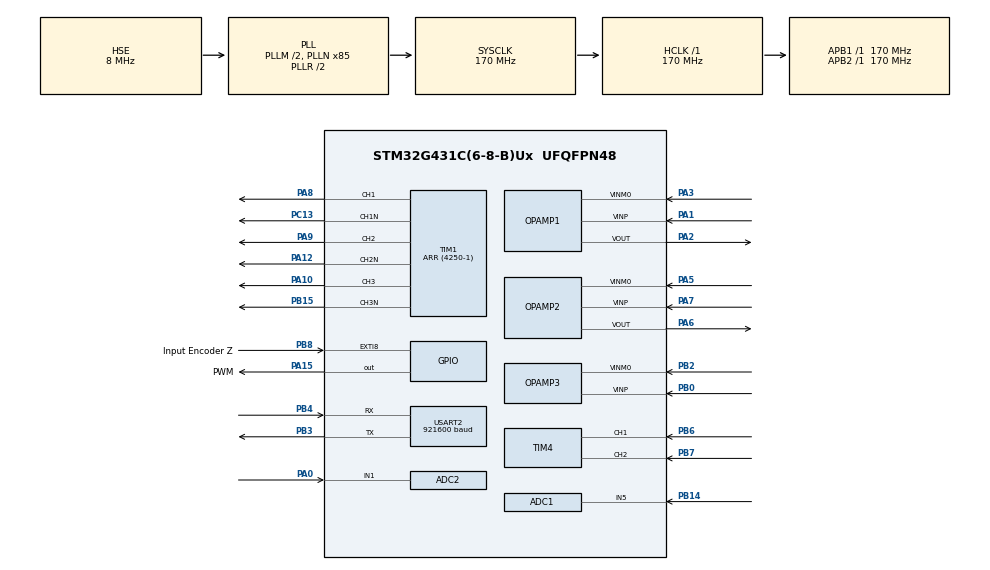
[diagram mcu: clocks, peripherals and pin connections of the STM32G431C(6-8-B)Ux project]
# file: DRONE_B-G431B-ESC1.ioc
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ADC1.Channel-11\#ChannelRegularConversion=ADC_CHANNEL_5
ADC1.ContinuousConvMode=DISABLE
ADC1.EnableInjectedConversion=ENABLE
ADC1.EnableRegularConversion=ENABLE
ADC1.ExternalTrigInjecConv=ADC_EXTERNALTRIGINJEC_T1_CC4
ADC1.InjNumberOfConversion=1
ADC1.InjectedChannel-10\#ChannelInjectedConversion=ADC_CHANNEL_3
ADC1.InjectedOffsetNumber-10\#ChannelInjectedConversion=ADC_OFFSET_NONE
ADC1.InjectedRank-10\#ChannelInjectedConversion=1
ADC1.InjectedSamplingTime-10\#ChannelInjectedConversion=ADC_SAMPLETIME_12CYCLES_5
ADC1.NbrOfConversionFlag=1
ADC1.OffsetNumber-11\#ChannelRegularConversion=ADC_OFFSET_NONE
ADC1.Overrun=ADC_OVR_DATA_OVERWRITTEN
ADC1.Rank-11\#ChannelRegularConversion=1
ADC1.SamplingTime-11\#ChannelRegularConversion=ADC_SAMPLETIME_47CYCLES_5
ADC1.master=1
ADC2.Channel-7\#ChannelRegularConversion=ADC_CHANNEL_1
ADC2.EnableInjectedConversion=ENABLE
ADC2.EnableRegularConversion=ENABLE
ADC2.ExternalTrigInjecConv=ADC_EXTERNALTRIGINJEC_T1_CC4
ADC2.InjNumberOfConversion=1
ADC2.InjectedChannel-8\#ChannelInjectedConversion=ADC_CHANNEL_3
ADC2.InjectedOffsetNumber-8\#ChannelInjectedConversion=ADC_OFFSET_NONE
ADC2.InjectedRank-8\#ChannelInjectedConversion=1
ADC2.InjectedSamplingTime-8\#ChannelInjectedConversion=ADC_SAMPLETIME_12CYCLES_5
ADC2.NbrOfConversion=1
ADC2.NbrOfConversionFlag=1
ADC2.OffsetNumber-7\#ChannelRegularConversion=ADC_OFFSET_NONE
ADC2.Rank-7\#ChannelRegularConversion=1
ADC2.Rank1_Channel=ADC_CHANNEL_3
ADC2.SamplingTime-7\#ChannelRegularConversion=ADC_SAMPLETIME_47CYCLES_5
COMP1.TriggerMode=COMP_TRIGGERMODE_IT_RISING
COMP2.TriggerMode=COMP_TRIGGERMODE_IT_RISING
COMP4.TriggerMode=COMP_TRIGGERMODE_IT_RISING
DAC1.DAC_Channel-DAC_OUT2_Int=DAC_CHANNEL_2
Dma.ADC1.3.Direction=DMA_PERIPH_TO_MEMORY
Dma.ADC1.3.EventEnable=DISABLE
Dma.ADC1.3.Instance=DMA1_Channel3
Dma.ADC1.3.MemDataAlignment=DMA_MDATAALIGN_HALFWORD
Dma.ADC1.3.MemInc=DMA_MINC_ENABLE
Dma.ADC1.3.Mode=DMA_NORMAL
Dma.ADC1.3.PeriphDataAlignment=DMA_PDATAALIGN_HALFWORD
Dma.ADC1.3.PeriphInc=DMA_PINC_DISABLE
Dma.ADC1.3.Polarity=HAL_DMAMUX_REQ_GEN_RISING
Dma.ADC1.3.Priority=DMA_PRIORITY_LOW
Dma.ADC1.3.RequestNumber=1
Dma.ADC1.3.SignalID=NONE
Dma.ADC1.3.SyncEnable=DISABLE
Dma.ADC1.3.SyncPolarity=HAL_DMAMUX_SYNC_NO_EVENT
Dma.ADC1.3.SyncRequestNumber=1
Dma.ADC1.3.SyncSignalID=NONE
Dma.ADC2.1.Direction=DMA_PERIPH_TO_MEMORY
Dma.ADC2.1.EventEnable=DISABLE
Dma.ADC2.1.Instance=DMA1_Channel2
Dma.ADC2.1.MemDataAlignment=DMA_MDATAALIGN_HALFWORD
Dma.ADC2.1.MemInc=DMA_MINC_ENABLE
Dma.ADC2.1.Mode=DMA_NORMAL
Dma.ADC2.1.PeriphDataAlignment=DMA_PDATAALIGN_HALFWORD
Dma.ADC2.1.PeriphInc=DMA_PINC_DISABLE
Dma.ADC2.1.Polarity=HAL_DMAMUX_REQ_GEN_RISING
Dma.ADC2.1.Priority=DMA_PRIORITY_MEDIUM
Dma.ADC2.1.RequestNumber=1
Dma.ADC2.1.SignalID=NONE
Dma.ADC2.1.SyncEnable=DISABLE
Dma.ADC2.1.SyncPolarity=HAL_DMAMUX_SYNC_NO_EVENT
Dma.ADC2.1.SyncRequestNumber=1
Dma.ADC2.1.SyncSignalID=NONE
Dma.Request0=USART2_RX
Dma.Request1=ADC2
Dma.Request2=USART2_TX
Dma.Request3=ADC1
Dma.USART2_RX.0.Direction=DMA_PERIPH_TO_MEMORY
Dma.USART2_RX.0.EventEnable=DISABLE
Dma.USART2_RX.0.Instance=DMA1_Channel1
Dma.USART2_RX.0.MemDataAlignment=DMA_MDATAALIGN_BYTE
Dma.USART2_RX.0.MemInc=DMA_MINC_ENABLE
Dma.USART2_RX.0.Mode=DMA_CIRCULAR
Dma.USART2_RX.0.PeriphDataAlignment=DMA_PDATAALIGN_BYTE
Dma.USART2_RX.0.PeriphInc=DMA_PINC_DISABLE
Dma.USART2_RX.0.Polarity=HAL_DMAMUX_REQ_GEN_RISING
Dma.USART2_RX.0.Priority=DMA_PRIORITY_LOW
Dma.USART2_RX.0.RequestNumber=1
Dma.USART2_RX.0.SignalID=NONE
Dma.USART2_RX.0.SyncEnable=DISABLE
Dma.USART2_RX.0.SyncPolarity=HAL_DMAMUX_SYNC_NO_EVENT
Dma.USART2_RX.0.SyncRequestNumber=1
Dma.USART2_RX.0.SyncSignalID=NONE
Dma.USART2_TX.2.Direction=DMA_MEMORY_TO_PERIPH
Dma.USART2_TX.2.EventEnable=DISABLE
Dma.USART2_TX.2.Instance=DMA2_Channel1
Dma.USART2_TX.2.MemDataAlignment=DMA_MDATAALIGN_BYTE
Dma.USART2_TX.2.MemInc=DMA_MINC_ENABLE
Dma.USART2_TX.2.Mode=DMA_NORMAL
Dma.USART2_TX.2.PeriphDataAlignment=DMA_PDATAALIGN_BYTE
Dma.USART2_TX.2.PeriphInc=DMA_PINC_DISABLE
Dma.USART2_TX.2.Polarity=HAL_DMAMUX_REQ_GEN_RISING
Dma.USART2_TX.2.Priority=DMA_PRIORITY_LOW
Dma.USART2_TX.2.RequestNumber=1
Dma.USART2_TX.2.SignalID=NONE
Dma.USART2_TX.2.SyncEnable=DISABLE
Dma.USART2_TX.2.SyncPolarity=HAL_DMAMUX_SYNC_NO_EVENT
Dma.USART2_TX.2.SyncRequestNumber=1
Dma.USART2_TX.2.SyncSignalID=NONE
Mcu.Family=STM32G4
Mcu.Name=STM32G431C(6-8-B)Ux
Mcu.Package=UFQFPN48
NVIC.ADC1_2_IRQn=true\:0\:0\:false\:false\:true\:true\:true\:true
NVIC.COMP1_2_3_IRQn=true\:0\:0\:false\:false\:true\:false\:true\:true
NVIC.COMP4_IRQn=true\:0\:0\:false\:false\:true\:false\:true\:true
NVIC.DMA1_Channel1_IRQn=true\:0\:0\:true\:false\:true\:false\:true\:true
NVIC.DMA1_Channel2_IRQn=true\:0\:0\:true\:false\:true\:false\:true\:true
NVIC.DMA1_Channel3_IRQn=true\:0\:0\:false\:false\:true\:false\:true\:true
NVIC.DMA2_Channel1_IRQn=true\:0\:0\:false\:false\:true\:false\:true\:true
NVIC.EXTI9_5_IRQn=true\:0\:0\:false\:false\:true\:true\:true\:true
NVIC.PriorityGroup=NVIC_PRIORITYGROUP_4
NVIC.TIM4_IRQn=true\:0\:0\:false\:false\:true\:true\:true\:true
NVIC.TIM6_DAC_IRQn=true\:0\:0\:false\:false\:true\:true\:true\:true
NVIC.USART2_IRQn=true\:1\:0\:true\:false\:true\:true\:true\:true
OPAMP1.PgaGain=OPAMP_PGA_GAIN_16_OR_MINUS_15
OPAMP2.PgaGain=OPAMP_PGA_GAIN_16_OR_MINUS_15
OPAMP3.PgaGain=OPAMP_PGA_GAIN_8_OR_MINUS_7
PA0.Mode=IN1-Single-Ended
PA0.Signal=ADC2_IN1
PA1.Signal=SharedAnalog_PA1
PA10.Signal=S_TIM1_CH3
PA12.Mode=PWM Generation2 CH2 CH2N
PA12.Signal=TIM1_CH2N
PA13.Mode=Serial_Wire
PA13.Signal=SYS_JTMS-SWDIO
PA14.Mode=Serial_Wire
PA14.Signal=SYS_JTCK-SWCLK
PA15.GPIO_Label=PWM
PA15.Signal=GPIO_Output
PA2.Signal=SharedAnalog_PA2
PA3.Mode=PGA Connected-INVERTINGINPUT_IO0_BIAS
PA3.Signal=OPAMP1_VINM0
PA5.Mode=PGA Connected-INVERTINGINPUT_IO0_BIAS
PA5.Signal=OPAMP2_VINM0
PA6.Signal=SharedAnalog_PA6
PA7.Signal=SharedAnalog_PA7
PA8.Signal=S_TIM1_CH1
PA9.Signal=S_TIM1_CH2
PB0.Signal=SharedAnalog_PB0
PB1.Signal=SharedAnalog_PB1
PB14.Mode=IN5-Single-Ended
PB14.Signal=ADC1_IN5
PB15.Mode=PWM Generation3 CH3 CH3N
PB15.Signal=TIM1_CH3N
PB2.Mode=PGA Internally connected_IO0_BIAS
PB2.Signal=OPAMP3_VINM0
PB3.Mode=Asynchronous
PB3.Signal=USART2_TX
PB4.Mode=Asynchronous
PB4.Signal=USART2_RX
PB6.Signal=S_TIM4_CH1
PB7.Signal=S_TIM4_CH2
PB8-BOOT0.GPIO_Label=Input Encoder Z
PB8-BOOT0.Signal=GPXTI8
PC13.Mode=PWM Generation1 CH1 CH1N
PC13.Signal=TIM1_CH1N
PF0-OSC_IN.Mode=HSE-External-Oscillator
PF0-OSC_IN.Signal=RCC_OSC_IN
PF1-OSC_OUT.Mode=HSE-External-Oscillator
PF1-OSC_OUT.Signal=RCC_OSC_OUT
ProjectManager.HeapSize=0x200
ProjectManager.StackSize=0x400
ProjectManager.TargetToolchain=CMake
RCC.ADC12CLockSelection=RCC_ADC12CLKSOURCE_PLL
RCC.ADC12Freq_Value=170000000
RCC.AHBFreq_Value=170000000
RCC.APB1Freq_Value=170000000
RCC.APB1TimFreq_Value=170000000
RCC.APB2Freq_Value=170000000
RCC.APB2TimFreq_Value=170000000
RCC.CortexFreq_Value=170000000
RCC.EXTERNAL_CLOCK_VALUE=12288000
RCC.HCLKFreq_Value=170000000
RCC.HSE_VALUE=8000000
RCC.HSI48_VALUE=48000000
RCC.HSI_VALUE=16000000
RCC.LSE_VALUE=32768
RCC.PLLM=RCC_PLLM_DIV2
RCC.PLLN=85
RCC.PLLSourceVirtual=RCC_PLLSOURCE_HSE
RCC.SYSCLKFreq_VALUE=170000000
RCC.SYSCLKSource=RCC_SYSCLKSOURCE_PLLCLK
RCC.USBFreq_Value=170000000
RCC.VCOOutputFreq_Value=340000000
SH.S_TIM1_CH1.0=TIM1_CH1,PWM Generation1 CH1 CH1N
SH.S_TIM1_CH2.0=TIM1_CH2,PWM Generation2 CH2 CH2N
SH.S_TIM1_CH3.0=TIM1_CH3,PWM Generation3 CH3 CH3N
SH.S_TIM4_CH1.0=TIM4_CH1,Encoder_Interface
SH.S_TIM4_CH2.0=TIM4_CH2,Encoder_Interface
SH.SharedAnalog_PA1.0=OPAMP1_VINP,PGA Connected-INVERTINGINPUT_IO0_BIAS
SH.SharedAnalog_PA1.1=COMP1_INP,INP
SH.SharedAnalog_PA2.0=OPAMP1_VOUT,PGA Connected-INVERTINGINPUT_IO0_BIAS
SH.SharedAnalog_PA2.1=ADC1_IN3,IN3-Single-Ended
SH.SharedAnalog_PA6.0=OPAMP2_VOUT,PGA Connected-INVERTINGINPUT_IO0_BIAS
SH.SharedAnalog_PA6.1=ADC2_IN3,IN3-Single-Ended
SH.SharedAnalog_PA7.0=OPAMP2_VINP,PGA Connected-INVERTINGINPUT_IO0_BIAS
SH.SharedAnalog_PA7.1=COMP2_INP,INP
SH.SharedAnalog_PB0.0=OPAMP3_VINP,PGA Internally connected_IO0_BIAS
SH.SharedAnalog_PB0.1=COMP4_INP,INP
SH.SharedAnalog_PB1.0=ADC1_IN12
SH.SharedAnalog_PB1.1=OPAMP3_VOUT
TIM1.AutoReloadPreload=TIM_AUTORELOAD_PRELOAD_ENABLE
TIM1.BreakFilter=0
TIM1.Channel-PWM\ Generation1\ CH1\ CH1N=TIM_CHANNEL_1
TIM1.Channel-PWM\ Generation2\ CH2\ CH2N=TIM_CHANNEL_2
TIM1.Channel-PWM\ Generation3\ CH3\ CH3N=TIM_CHANNEL_3
TIM1.Channel-PWM\ Generation4\ No\ Output=TIM_CHANNEL_4
TIM1.CounterMode=TIM_COUNTERMODE_CENTERALIGNED1
TIM1.DeadTime=30
TIM1.PeriodNoDither=(4250-1)
TIM1.PulseNoDither_1=8500/4
TIM1.PulseNoDither_2=8500/4
TIM1.PulseNoDither_3=8500/4
TIM1.PulseNoDither_4=4240
TIM1.TIM_MasterOutputTrigger=TIM_TRGO_OC1
TIM1.TIM_MasterOutputTrigger2=TIM_TRGO2_RESET
TIM2.Channel-PWM\ Generation1\ No\ Output=TIM_CHANNEL_1
TIM4.EncoderMode=TIM_ENCODERMODE_TI12
TIM4.PeriodNoDither=((16*4096)-1)
TIM4.TIM_MasterOutputTrigger=TIM_TRGO_ENABLE
USART2.BaudRate=921600
USART2.Parity=PARITY_EVEN
USART2.VirtualMode-Asynchronous=VM_ASYNC
USART2.WordLength=WORDLENGTH_9B
VP_COMP1_VS_DAC1OUT1.Mode=INM_DAC1OUT1
VP_COMP2_VS_DAC1OUT2.Mode=INM_DAC1OUT2
VP_COMP4_VS_DAC1OUT1.Mode=INM_DAC1OUT1
VP_DAC1_VS_DACI1.Mode=DAC_OUT1_Int
VP_DAC1_VS_DACI2.Mode=DAC_OUT2_Int
VP_DAC3_VS_DACI1.Mode=DAC_OUT1_Int
VP_SYS_VS_DBSignals.Mode=DisableDeadBatterySignals
VP_TIM1_VS_ClockSourceINT.Mode=Internal
VP_TIM1_VS_no_output4.Mode=PWM Generation4 No Output
VP_TIM2_VS_ClockSourceINT.Mode=Internal
VP_TIM2_VS_no_output1.Mode=PWM Generation1 No Output
board=custom

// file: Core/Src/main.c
/* USER CODE BEGIN Header */
/**
  ******************************************************************************
  * @file           : main.c
  * @brief          : Main program body
  ******************************************************************************
  * @attention
  *
  * Copyright (c) 2024 STMicroelectronics.
  * All rights reserved.
  *
  * This software is licensed under terms that can be found in the LICENSE file
  * in the root directory of this software component.
  * If no LICENSE file comes with this software, it is provided AS-IS.
  *
  ******************************************************************************
  */
/* USER CODE END Header */
#include "main.h"

/* USER CODE BEGIN Includes */
#include <stdlib.h>
#include <stdio.h>
#include <string.h>
#include <stdint.h>
#include <settings.h>

#include "motor_sm.h"
#include "motor_sm.h"
#include "motor_types.h"
#include "motor_safety.h"
#include "foc_math.h"

#include <observer.h>
#include <svm.h>

#include "motor_task.h"
#include "motor_inertia_est.h"
/* USER CODE END Includes */

ADC_HandleTypeDef hadc1;
ADC_HandleTypeDef hadc2;
DMA_HandleTypeDef hdma_adc1;
DMA_HandleTypeDef hdma_adc2;

COMP_HandleTypeDef hcomp1;
COMP_HandleTypeDef hcomp2;
COMP_HandleTypeDef hcomp4;

DAC_HandleTypeDef hdac1;
DAC_HandleTypeDef hdac3;

OPAMP_HandleTypeDef hopamp1;
OPAMP_HandleTypeDef hopamp2;
OPAMP_HandleTypeDef hopamp3;

TIM_HandleTypeDef htim1;
TIM_HandleTypeDef htim2;
TIM_HandleTypeDef htim4;

UART_HandleTypeDef huart2;
DMA_HandleTypeDef hdma_usart2_rx;
DMA_HandleTypeDef hdma_usart2_tx;

/* USER CODE BEGIN PV */
volatile uint16_t InjADC_Reading = 0;
extern Motor g_motor;
/* USER CODE END PV */

void SystemClock_Config(void);
static void MX_GPIO_Init(void);
static void MX_DMA_Init(void);
static void MX_ADC1_Init(void);
static void MX_ADC2_Init(void);
static void MX_OPAMP1_Init(void);
static void MX_OPAMP2_Init(void);
static void MX_OPAMP3_Init(void);
static void MX_TIM1_Init(void);
static void MX_USART2_UART_Init(void);
static void MX_TIM4_Init(void);
static void MX_COMP1_Init(void);
static void MX_DAC3_Init(void);
static void MX_DAC1_Init(void);
static void MX_COMP2_Init(void);
static void MX_COMP4_Init(void);
static void MX_TIM2_Init(void);

int main(void)
{

  /* MCU Configuration--------------------------------------------------------*/

  /* Reset of all peripherals, Initializes the Flash interface and the Systick. */
  HAL_Init();

  /* USER CODE BEGIN Init */
//  __HAL_ADC_CLEAR_FLAG(&hadc1, ADC_FLAG_EOSMP);
//  __HAL_ADC_CLEAR_FLAG(&hadc2, ADC_FLAG_EOSMP);
//  __HAL_ADC_ENABLE_IT(&hadc1, ADC_IT_EOSMP);
//  __HAL_ADC_ENABLE_IT(&hadc2, ADC_IT_EOSMP);
  /* USER CODE END Init */

  /* Configure the system clock */
  SystemClock_Config();

  /* Initialize all configured peripherals */
  MX_GPIO_Init();
  MX_DMA_Init();
  MX_ADC1_Init();
  MX_ADC2_Init();
  MX_OPAMP1_Init();
  MX_OPAMP2_Init();
  MX_OPAMP3_Init();
  MX_TIM1_Init();
  MX_USART2_UART_Init();
  MX_TIM4_Init();
  MX_COMP1_Init();
  MX_DAC3_Init();
  MX_DAC1_Init();
  MX_COMP2_Init();
  MX_COMP4_Init();
  MX_TIM2_Init();
  /* USER CODE BEGIN 2 */

  // first, let´s wait. Be respectful, let others take the lead (depends on the motor number)
  uint16_t wait = 1500 * (MOTOR_NUMBER - 1);
  HAL_Delay(wait);

//  Calibrate ADC for better accuracy
  HAL_ADCEx_Calibration_Start(&hadc1,ADC_SINGLE_ENDED);
  HAL_ADCEx_Calibration_Start(&hadc2, ADC_SINGLE_ENDED);

//  Start ADC1 & ADC2 in Injected Mode (= Triggerd by external sources (TIM1))
  if (HAL_ADCEx_InjectedStart_IT(&hadc1) != HAL_OK) {
      Error_Handler();
  }
  if (HAL_ADCEx_InjectedStart_IT(&hadc2) != HAL_OK) {
      Error_Handler();
  }

// Start DAC for OC protection
  HAL_DAC_SetValue(&hdac1, DAC_CHANNEL_1, DAC_ALIGN_12B_R, 2000);
  HAL_DAC_SetValue(&hdac1, DAC_CHANNEL_2, DAC_ALIGN_12B_R, 2000);
  HAL_DAC_SetValue(&hdac3, DAC_CHANNEL_1, DAC_ALIGN_12B_R, 2000);
  HAL_DAC_Start(&hdac1, DAC_CHANNEL_1);
  HAL_DAC_Start(&hdac1, DAC_CHANNEL_2);
  HAL_DAC_Start(&hdac3, DAC_CHANNEL_1);

//  Start TIM2 (not important) [delete]
  if (HAL_TIM_Base_Start(&htim2) != HAL_OK)
  {
    /* Starting Error */
    Error_Handler();
  }

//  Start TIM1
  if (HAL_TIM_Base_Start_IT(&htim1) != HAL_OK)
  {
    /* Starting Error */
    Error_Handler();
  }
  HAL_TIM_PWM_Start(&htim1, TIM_CHANNEL_1);
  HAL_TIM_PWM_Start(&htim1, TIM_CHANNEL_2);
  HAL_TIM_PWM_Start(&htim1, TIM_CHANNEL_3);

  HAL_TIMEx_PWMN_Start(&htim1, TIM_CHANNEL_1);
  HAL_TIMEx_PWMN_Start(&htim1, TIM_CHANNEL_2);
  HAL_TIMEx_PWMN_Start(&htim1, TIM_CHANNEL_3);

// Start Encoder
  HAL_TIM_Encoder_Start(&htim4, TIM_CHANNEL_ALL);

// Init Output compare Mode in Timer1 Channel 4 -> Trigger ADC1 & ADC2
  HAL_TIM_OC_Start(&htim1, TIM_CHANNEL_4);

//  Start OAMP
  if (HAL_OPAMP_Start(&hopamp1) != HAL_OK) {
      Error_Handler();
  }
  if (HAL_OPAMP_Start(&hopamp2) != HAL_OK) {
      Error_Handler();
  }
  if (HAL_OPAMP_Start(&hopamp3) != HAL_OK) {
      Error_Handler();
  }

  HAL_COMP_Start(&hcomp1);
  HAL_COMP_Start(&hcomp2);
  HAL_COMP_Start(&hcomp4);

//########### Initialization #############
  init_motor_task();
//########################

//  if (HAL_ADC_Start(&hadc1) != HAL_OK) {
//      Error_Handler();
//  }
//  if (HAL_ADC_Start(&hadc2) != HAL_OK) {
//      Error_Handler();
//  }

  /*
  if (HAL_DAC_Start(&hdac1, DAC1_CHANNEL_1) != HAL_OK) {
      Error_Handler();
  }
  if (HAL_DAC_Start(&hdac1, DAC1_CHANNEL_2) != HAL_OK) {
      Error_Handler();
  }
  if (HAL_DAC_Start(&hdac3, DAC1_CHANNEL_1) != HAL_OK) {
      Error_Handler();
  }

  if (HAL_COMP_Start(&hcomp1)!= HAL_OK) {
      Error_Handler();
  }
  if (HAL_COMP_Start(&hcomp2)!= HAL_OK) {
      Error_Handler();
  }
  if (HAL_COMP_Start(&hcomp3)!= HAL_OK) {
      Error_Handler();
  }
  if (HAL_COMP_Start(&hcomp4)!= HAL_OK) {
      Error_Handler();
  }
  */
// ########## INIT MOTOR INERTIA ESTIMATION ############
motor_inertia_estimation_init();
// ######### INIT MOTOR STATE MACHINE ############
 MotorSM_Init(&g_motor);

 // check if the encoder parameter is correct
  motor_check_parameter(&htim4);

  /* USER CODE END 2 */

  /* Infinite loop */
  /* USER CODE BEGIN WHILE */
  while (1)
  {
    MotorSM_Service(&g_motor);
    out_source_time_management();
    motor_inertia_estimation_time_management();
    /* USER CODE END WHILE */

  }
}

void SystemClock_Config(void)
{
  RCC_OscInitTypeDef RCC_OscInitStruct = {0};
  RCC_ClkInitTypeDef RCC_ClkInitStruct = {0};

  /** Configure the main internal regulator output voltage
  */
  HAL_PWREx_ControlVoltageScaling(PWR_REGULATOR_VOLTAGE_SCALE1_BOOST);

  /** Initializes the RCC Oscillators according to the specified parameters
  * in the RCC_OscInitTypeDef structure.
  */
  RCC_OscInitStruct.OscillatorType = RCC_OSCILLATORTYPE_HSE;
  RCC_OscInitStruct.HSEState = RCC_HSE_ON;
  RCC_OscInitStruct.PLL.PLLState = RCC_PLL_ON;
  RCC_OscInitStruct.PLL.PLLSource = RCC_PLLSOURCE_HSE;
  RCC_OscInitStruct.PLL.PLLM = RCC_PLLM_DIV2;
  RCC_OscInitStruct.PLL.PLLN = 85;
  RCC_OscInitStruct.PLL.PLLP = RCC_PLLP_DIV2;
  RCC_OscInitStruct.PLL.PLLQ = RCC_PLLQ_DIV2;
  RCC_OscInitStruct.PLL.PLLR = RCC_PLLR_DIV2;
  if (HAL_RCC_OscConfig(&RCC_OscInitStruct) != HAL_OK)
  {
    Error_Handler();
  }

  /** Initializes the CPU, AHB and APB buses clocks
  */
  RCC_ClkInitStruct.ClockType = RCC_CLOCKTYPE_HCLK|RCC_CLOCKTYPE_SYSCLK
                              |RCC_CLOCKTYPE_PCLK1|RCC_CLOCKTYPE_PCLK2;
  RCC_ClkInitStruct.SYSCLKSource = RCC_SYSCLKSOURCE_PLLCLK;
  RCC_ClkInitStruct.AHBCLKDivider = RCC_SYSCLK_DIV1;
  RCC_ClkInitStruct.APB1CLKDivider = RCC_HCLK_DIV1;
  RCC_ClkInitStruct.APB2CLKDivider = RCC_HCLK_DIV1;

  if (HAL_RCC_ClockConfig(&RCC_ClkInitStruct, FLASH_LATENCY_4) != HAL_OK)
  {
    Error_Handler();
  }
}

static void MX_ADC1_Init(void)
{

  ADC_MultiModeTypeDef multimode = {0};
  ADC_InjectionConfTypeDef sConfigInjected = {0};
  ADC_ChannelConfTypeDef sConfig = {0};

  /** Common config
  */
  hadc1.Instance = ADC1;
  hadc1.Init.ClockPrescaler = ADC_CLOCK_SYNC_PCLK_DIV4;
  hadc1.Init.Resolution = ADC_RESOLUTION_12B;
  hadc1.Init.DataAlign = ADC_DATAALIGN_RIGHT;
  hadc1.Init.GainCompensation = 0;
  hadc1.Init.ScanConvMode = ADC_SCAN_DISABLE;
  hadc1.Init.EOCSelection = ADC_EOC_SINGLE_CONV;
  hadc1.Init.LowPowerAutoWait = DISABLE;
  hadc1.Init.ContinuousConvMode = DISABLE;
  hadc1.Init.NbrOfConversion = 1;
  hadc1.Init.DiscontinuousConvMode = DISABLE;
  hadc1.Init.ExternalTrigConv = ADC_SOFTWARE_START;
  hadc1.Init.ExternalTrigConvEdge = ADC_EXTERNALTRIGCONVEDGE_NONE;
  hadc1.Init.DMAContinuousRequests = DISABLE;
  hadc1.Init.Overrun = ADC_OVR_DATA_OVERWRITTEN;
  hadc1.Init.OversamplingMode = DISABLE;
  if (HAL_ADC_Init(&hadc1) != HAL_OK)
  {
    Error_Handler();
  }

  /** Configure the ADC multi-mode
  */
  multimode.Mode = ADC_MODE_INDEPENDENT;
  if (HAL_ADCEx_MultiModeConfigChannel(&hadc1, &multimode) != HAL_OK)
  {
    Error_Handler();
  }

  /** Configure Injected Channel
  */
  sConfigInjected.InjectedChannel = ADC_CHANNEL_3;
  sConfigInjected.InjectedRank = ADC_INJECTED_RANK_1;
  sConfigInjected.InjectedSamplingTime = ADC_SAMPLETIME_12CYCLES_5;
  sConfigInjected.InjectedSingleDiff = ADC_SINGLE_ENDED;
  sConfigInjected.InjectedOffsetNumber = ADC_OFFSET_NONE;
  sConfigInjected.InjectedOffset = 0;
  sConfigInjected.InjectedNbrOfConversion = 1;
  sConfigInjected.InjectedDiscontinuousConvMode = DISABLE;
  sConfigInjected.AutoInjectedConv = DISABLE;
  sConfigInjected.QueueInjectedContext = DISABLE;
  sConfigInjected.ExternalTrigInjecConv = ADC_EXTERNALTRIGINJEC_T1_CC4;
  sConfigInjected.ExternalTrigInjecConvEdge = ADC_EXTERNALTRIGINJECCONV_EDGE_RISING;
  sConfigInjected.InjecOversamplingMode = DISABLE;
  if (HAL_ADCEx_InjectedConfigChannel(&hadc1, &sConfigInjected) != HAL_OK)
  {
    Error_Handler();
  }

  /** Configure Regular Channel
  */
  sConfig.Channel = ADC_CHANNEL_5;
  sConfig.Rank = ADC_REGULAR_RANK_1;
  sConfig.SamplingTime = ADC_SAMPLETIME_47CYCLES_5;
  sConfig.SingleDiff = ADC_SINGLE_ENDED;
  sConfig.OffsetNumber = ADC_OFFSET_NONE;
  sConfig.Offset = 0;
  if (HAL_ADC_ConfigChannel(&hadc1, &sConfig) != HAL_OK)
  {
    Error_Handler();
  }

}

static void MX_ADC2_Init(void)
{

  ADC_ChannelConfTypeDef sConfig = {0};
  ADC_InjectionConfTypeDef sConfigInjected = {0};

  /** Common config
  */
  hadc2.Instance = ADC2;
  hadc2.Init.ClockPrescaler = ADC_CLOCK_SYNC_PCLK_DIV4;
  hadc2.Init.Resolution = ADC_RESOLUTION_12B;
  hadc2.Init.DataAlign = ADC_DATAALIGN_RIGHT;
  hadc2.Init.GainCompensation = 0;
  hadc2.Init.ScanConvMode = ADC_SCAN_DISABLE;
  hadc2.Init.EOCSelection = ADC_EOC_SINGLE_CONV;
  hadc2.Init.LowPowerAutoWait = DISABLE;
  hadc2.Init.ContinuousConvMode = DISABLE;
  hadc2.Init.NbrOfConversion = 1;
  hadc2.Init.DiscontinuousConvMode = DISABLE;
  hadc2.Init.ExternalTrigConv = ADC_SOFTWARE_START;
  hadc2.Init.ExternalTrigConvEdge = ADC_EXTERNALTRIGCONVEDGE_NONE;
  hadc2.Init.DMAContinuousRequests = DISABLE;
  hadc2.Init.Overrun = ADC_OVR_DATA_PRESERVED;
  hadc2.Init.OversamplingMode = DISABLE;
  if (HAL_ADC_Init(&hadc2) != HAL_OK)
  {
    Error_Handler();
  }

  /** Configure Regular Channel
  */
  sConfig.Channel = ADC_CHANNEL_1;
  sConfig.Rank = ADC_REGULAR_RANK_1;
  sConfig.SamplingTime = ADC_SAMPLETIME_47CYCLES_5;
  sConfig.SingleDiff = ADC_SINGLE_ENDED;
  sConfig.OffsetNumber = ADC_OFFSET_NONE;
  sConfig.Offset = 0;
  if (HAL_ADC_ConfigChannel(&hadc2, &sConfig) != HAL_OK)
  {
    Error_Handler();
  }

  /** Configure Injected Channel
  */
  sConfigInjected.InjectedChannel = ADC_CHANNEL_3;
  sConfigInjected.InjectedRank = ADC_INJECTED_RANK_1;
  sConfigInjected.InjectedSamplingTime = ADC_SAMPLETIME_12CYCLES_5;
  sConfigInjected.InjectedSingleDiff = ADC_SINGLE_ENDED;
  sConfigInjected.InjectedOffsetNumber = ADC_OFFSET_NONE;
  sConfigInjected.InjectedOffset = 0;
  sConfigInjected.InjectedNbrOfConversion = 1;
  sConfigInjected.InjectedDiscontinuousConvMode = DISABLE;
  sConfigInjected.AutoInjectedConv = DISABLE;
  sConfigInjected.QueueInjectedContext = DISABLE;
  sConfigInjected.ExternalTrigInjecConv = ADC_EXTERNALTRIGINJEC_T1_CC4;
  sConfigInjected.ExternalTrigInjecConvEdge = ADC_EXTERNALTRIGINJECCONV_EDGE_RISING;
  sConfigInjected.InjecOversamplingMode = DISABLE;
  if (HAL_ADCEx_InjectedConfigChannel(&hadc2, &sConfigInjected) != HAL_OK)
  {
    Error_Handler();
  }

}

static void MX_COMP1_Init(void)
{

  hcomp1.Instance = COMP1;
  hcomp1.Init.InputPlus = COMP_INPUT_PLUS_IO1;
  hcomp1.Init.InputMinus = COMP_INPUT_MINUS_DAC1_CH1;
  hcomp1.Init.OutputPol = COMP_OUTPUTPOL_NONINVERTED;
  hcomp1.Init.Hysteresis = COMP_HYSTERESIS_NONE;
  hcomp1.Init.BlankingSrce = COMP_BLANKINGSRC_NONE;
  hcomp1.Init.TriggerMode = COMP_TRIGGERMODE_IT_RISING;
  if (HAL_COMP_Init(&hcomp1) != HAL_OK)
  {
    Error_Handler();
  }

}

static void MX_COMP2_Init(void)
{

  hcomp2.Instance = COMP2;
  hcomp2.Init.InputPlus = COMP_INPUT_PLUS_IO1;
  hcomp2.Init.InputMinus = COMP_INPUT_MINUS_DAC1_CH2;
  hcomp2.Init.OutputPol = COMP_OUTPUTPOL_NONINVERTED;
  hcomp2.Init.Hysteresis = COMP_HYSTERESIS_NONE;
  hcomp2.Init.BlankingSrce = COMP_BLANKINGSRC_NONE;
  hcomp2.Init.TriggerMode = COMP_TRIGGERMODE_IT_RISING;
  if (HAL_COMP_Init(&hcomp2) != HAL_OK)
  {
    Error_Handler();
  }

}

static void MX_COMP4_Init(void)
{

  hcomp4.Instance = COMP4;
  hcomp4.Init.InputPlus = COMP_INPUT_PLUS_IO1;
  hcomp4.Init.InputMinus = COMP_INPUT_MINUS_DAC1_CH1;
  hcomp4.Init.OutputPol = COMP_OUTPUTPOL_NONINVERTED;
  hcomp4.Init.Hysteresis = COMP_HYSTERESIS_NONE;
  hcomp4.Init.BlankingSrce = COMP_BLANKINGSRC_NONE;
  hcomp4.Init.TriggerMode = COMP_TRIGGERMODE_IT_RISING;
  if (HAL_COMP_Init(&hcomp4) != HAL_OK)
  {
    Error_Handler();
  }

}

static void MX_DAC1_Init(void)
{

  DAC_ChannelConfTypeDef sConfig = {0};

  /** DAC Initialization
  */
  hdac1.Instance = DAC1;
  if (HAL_DAC_Init(&hdac1) != HAL_OK)
  {
    Error_Handler();
  }

  /** DAC channel OUT1 config
  */
  sConfig.DAC_HighFrequency = DAC_HIGH_FREQUENCY_INTERFACE_MODE_AUTOMATIC;
  sConfig.DAC_DMADoubleDataMode = DISABLE;
  sConfig.DAC_SignedFormat = DISABLE;
  sConfig.DAC_SampleAndHold = DAC_SAMPLEANDHOLD_DISABLE;
  sConfig.DAC_Trigger = DAC_TRIGGER_NONE;
  sConfig.DAC_Trigger2 = DAC_TRIGGER_NONE;
  sConfig.DAC_OutputBuffer = DAC_OUTPUTBUFFER_DISABLE;
  sConfig.DAC_ConnectOnChipPeripheral = DAC_CHIPCONNECT_INTERNAL;
  sConfig.DAC_UserTrimming = DAC_TRIMMING_FACTORY;
  if (HAL_DAC_ConfigChannel(&hdac1, &sConfig, DAC_CHANNEL_1) != HAL_OK)
  {
    Error_Handler();
  }

  /** DAC channel OUT2 config
  */
  if (HAL_DAC_ConfigChannel(&hdac1, &sConfig, DAC_CHANNEL_2) != HAL_OK)
  {
    Error_Handler();
  }

}

static void MX_DAC3_Init(void)
{

  DAC_ChannelConfTypeDef sConfig = {0};

  /** DAC Initialization
  */
  hdac3.Instance = DAC3;
  if (HAL_DAC_Init(&hdac3) != HAL_OK)
  {
    Error_Handler();
  }

  /** DAC channel OUT1 config
  */
  sConfig.DAC_HighFrequency = DAC_HIGH_FREQUENCY_INTERFACE_MODE_AUTOMATIC;
  sConfig.DAC_DMADoubleDataMode = DISABLE;
  sConfig.DAC_SignedFormat = DISABLE;
  sConfig.DAC_SampleAndHold = DAC_SAMPLEANDHOLD_DISABLE;
  sConfig.DAC_Trigger = DAC_TRIGGER_NONE;
  sConfig.DAC_Trigger2 = DAC_TRIGGER_NONE;
  sConfig.DAC_OutputBuffer = DAC_OUTPUTBUFFER_DISABLE;
  sConfig.DAC_ConnectOnChipPeripheral = DAC_CHIPCONNECT_INTERNAL;
  sConfig.DAC_UserTrimming = DAC_TRIMMING_FACTORY;
  if (HAL_DAC_ConfigChannel(&hdac3, &sConfig, DAC_CHANNEL_1) != HAL_OK)
  {
    Error_Handler();
  }

}

static void MX_OPAMP1_Init(void)
{

  hopamp1.Instance = OPAMP1;
  hopamp1.Init.PowerMode = OPAMP_POWERMODE_NORMALSPEED;
  hopamp1.Init.Mode = OPAMP_PGA_MODE;
  hopamp1.Init.NonInvertingInput = OPAMP_NONINVERTINGINPUT_IO0;
  hopamp1.Init.InternalOutput = DISABLE;
  hopamp1.Init.TimerControlledMuxmode = OPAMP_TIMERCONTROLLEDMUXMODE_DISABLE;
  hopamp1.Init.PgaConnect = OPAMP_PGA_CONNECT_INVERTINGINPUT_IO0_BIAS;
  hopamp1.Init.PgaGain = OPAMP_PGA_GAIN_16_OR_MINUS_15;
  hopamp1.Init.UserTrimming = OPAMP_TRIMMING_FACTORY;
  if (HAL_OPAMP_Init(&hopamp1) != HAL_OK)
  {
    Error_Handler();
  }

}

static void MX_OPAMP2_Init(void)
{

  hopamp2.Instance = OPAMP2;
  hopamp2.Init.PowerMode = OPAMP_POWERMODE_NORMALSPEED;
  hopamp2.Init.Mode = OPAMP_PGA_MODE;
  hopamp2.Init.NonInvertingInput = OPAMP_NONINVERTINGINPUT_IO0;
  hopamp2.Init.InternalOutput = DISABLE;
  hopamp2.Init.TimerControlledMuxmode = OPAMP_TIMERCONTROLLEDMUXMODE_DISABLE;
  hopamp2.Init.PgaConnect = OPAMP_PGA_CONNECT_INVERTINGINPUT_IO0_BIAS;
  hopamp2.Init.PgaGain = OPAMP_PGA_GAIN_16_OR_MINUS_15;
  hopamp2.Init.UserTrimming = OPAMP_TRIMMING_FACTORY;
  if (HAL_OPAMP_Init(&hopamp2) != HAL_OK)
  {
    Error_Handler();
  }

}

static void MX_OPAMP3_Init(void)
{

  hopamp3.Instance = OPAMP3;
  hopamp3.Init.PowerMode = OPAMP_POWERMODE_NORMALSPEED;
  hopamp3.Init.Mode = OPAMP_PGA_MODE;
  hopamp3.Init.NonInvertingInput = OPAMP_NONINVERTINGINPUT_IO0;
  hopamp3.Init.InternalOutput = ENABLE;
  hopamp3.Init.TimerControlledMuxmode = OPAMP_TIMERCONTROLLEDMUXMODE_DISABLE;
  hopamp3.Init.PgaConnect = OPAMP_PGA_CONNECT_INVERTINGINPUT_IO0_BIAS;
  hopamp3.Init.PgaGain = OPAMP_PGA_GAIN_8_OR_MINUS_7;
  hopamp3.Init.UserTrimming = OPAMP_TRIMMING_FACTORY;
  if (HAL_OPAMP_Init(&hopamp3) != HAL_OK)
  {
    Error_Handler();
  }

}

static void MX_TIM1_Init(void)
{

  TIM_ClockConfigTypeDef sClockSourceConfig = {0};
  TIM_MasterConfigTypeDef sMasterConfig = {0};
  TIM_OC_InitTypeDef sConfigOC = {0};
  TIM_BreakDeadTimeConfigTypeDef sBreakDeadTimeConfig = {0};

  htim1.Instance = TIM1;
  htim1.Init.Prescaler = 0;
  htim1.Init.CounterMode = TIM_COUNTERMODE_CENTERALIGNED1;
  htim1.Init.Period = 4249;
  htim1.Init.ClockDivision = TIM_CLOCKDIVISION_DIV1;
  htim1.Init.RepetitionCounter = 0;
  htim1.Init.AutoReloadPreload = TIM_AUTORELOAD_PRELOAD_ENABLE;
  if (HAL_TIM_Base_Init(&htim1) != HAL_OK)
  {
    Error_Handler();
  }
  sClockSourceConfig.ClockSource = TIM_CLOCKSOURCE_INTERNAL;
  if (HAL_TIM_ConfigClockSource(&htim1, &sClockSourceConfig) != HAL_OK)
  {
    Error_Handler();
  }
  if (HAL_TIM_PWM_Init(&htim1) != HAL_OK)
  {
    Error_Handler();
  }
  sMasterConfig.MasterOutputTrigger = TIM_TRGO_OC1;
  sMasterConfig.MasterOutputTrigger2 = TIM_TRGO2_RESET;
  sMasterConfig.MasterSlaveMode = TIM_MASTERSLAVEMODE_DISABLE;
  if (HAL_TIMEx_MasterConfigSynchronization(&htim1, &sMasterConfig) != HAL_OK)
  {
    Error_Handler();
  }
  sConfigOC.OCMode = TIM_OCMODE_PWM1;
  sConfigOC.Pulse = 2125;
  sConfigOC.OCPolarity = TIM_OCPOLARITY_HIGH;
  sConfigOC.OCNPolarity = TIM_OCNPOLARITY_HIGH;
  sConfigOC.OCFastMode = TIM_OCFAST_DISABLE;
  sConfigOC.OCIdleState = TIM_OCIDLESTATE_RESET;
  sConfigOC.OCNIdleState = TIM_OCNIDLESTATE_RESET;
  if (HAL_TIM_PWM_ConfigChannel(&htim1, &sConfigOC, TIM_CHANNEL_1) != HAL_OK)
  {
    Error_Handler();
  }
  if (HAL_TIM_PWM_ConfigChannel(&htim1, &sConfigOC, TIM_CHANNEL_2) != HAL_OK)
  {
    Error_Handler();
  }
  if (HAL_TIM_PWM_ConfigChannel(&htim1, &sConfigOC, TIM_CHANNEL_3) != HAL_OK)
  {
    Error_Handler();
  }
  sConfigOC.Pulse = 4240;
  if (HAL_TIM_PWM_ConfigChannel(&htim1, &sConfigOC, TIM_CHANNEL_4) != HAL_OK)
  {
    Error_Handler();
  }
  sBreakDeadTimeConfig.OffStateRunMode = TIM_OSSR_DISABLE;
  sBreakDeadTimeConfig.OffStateIDLEMode = TIM_OSSI_DISABLE;
  sBreakDeadTimeConfig.LockLevel = TIM_LOCKLEVEL_OFF;
  sBreakDeadTimeConfig.DeadTime = 30;
  sBreakDeadTimeConfig.BreakState = TIM_BREAK_DISABLE;
  sBreakDeadTimeConfig.BreakPolarity = TIM_BREAKPOLARITY_HIGH;
  sBreakDeadTimeConfig.BreakFilter = 0;
  sBreakDeadTimeConfig.BreakAFMode = TIM_BREAK_AFMODE_INPUT;
  sBreakDeadTimeConfig.Break2State = TIM_BREAK2_DISABLE;
  sBreakDeadTimeConfig.Break2Polarity = TIM_BREAK2POLARITY_HIGH;
  sBreakDeadTimeConfig.Break2Filter = 0;
  sBreakDeadTimeConfig.Break2AFMode = TIM_BREAK_AFMODE_INPUT;
  sBreakDeadTimeConfig.AutomaticOutput = TIM_AUTOMATICOUTPUT_DISABLE;
  if (HAL_TIMEx_ConfigBreakDeadTime(&htim1, &sBreakDeadTimeConfig) != HAL_OK)
  {
    Error_Handler();
  }
  /* USER CODE BEGIN TIM1_Init 2 */
  // Master Output Trigger auf OC4REF setzen

  /* USER CODE END TIM1_Init 2 */
  HAL_TIM_MspPostInit(&htim1);

}

static void MX_TIM2_Init(void)
{

  TIM_ClockConfigTypeDef sClockSourceConfig = {0};
  TIM_MasterConfigTypeDef sMasterConfig = {0};
  TIM_OC_InitTypeDef sConfigOC = {0};

  htim2.Instance = TIM2;
  htim2.Init.Prescaler = 0;
  htim2.Init.CounterMode = TIM_COUNTERMODE_UP;
  htim2.Init.Period = 4294967295;
  htim2.Init.ClockDivision = TIM_CLOCKDIVISION_DIV1;
  htim2.Init.AutoReloadPreload = TIM_AUTORELOAD_PRELOAD_DISABLE;
  if (HAL_TIM_Base_Init(&htim2) != HAL_OK)
  {
    Error_Handler();
  }
  sClockSourceConfig.ClockSource = TIM_CLOCKSOURCE_INTERNAL;
  if (HAL_TIM_ConfigClockSource(&htim2, &sClockSourceConfig) != HAL_OK)
  {
    Error_Handler();
  }
  if (HAL_TIM_PWM_Init(&htim2) != HAL_OK)
  {
    Error_Handler();
  }
  sMasterConfig.MasterOutputTrigger = TIM_TRGO_RESET;
  sMasterConfig.MasterSlaveMode = TIM_MASTERSLAVEMODE_DISABLE;
  if (HAL_TIMEx_MasterConfigSynchronization(&htim2, &sMasterConfig) != HAL_OK)
  {
    Error_Handler();
  }
  sConfigOC.OCMode = TIM_OCMODE_PWM1;
  sConfigOC.Pulse = 0;
  sConfigOC.OCPolarity = TIM_OCPOLARITY_HIGH;
  sConfigOC.OCFastMode = TIM_OCFAST_DISABLE;
  if (HAL_TIM_PWM_ConfigChannel(&htim2, &sConfigOC, TIM_CHANNEL_1) != HAL_OK)
  {
    Error_Handler();
  }

}

static void MX_TIM4_Init(void)
{

  TIM_Encoder_InitTypeDef sConfig = {0};
  TIM_MasterConfigTypeDef sMasterConfig = {0};

  htim4.Instance = TIM4;
  htim4.Init.Prescaler = 0;
  htim4.Init.CounterMode = TIM_COUNTERMODE_UP;
  htim4.Init.Period = 65535;
  htim4.Init.ClockDivision = TIM_CLOCKDIVISION_DIV1;
  htim4.Init.AutoReloadPreload = TIM_AUTORELOAD_PRELOAD_DISABLE;
  sConfig.EncoderMode = TIM_ENCODERMODE_TI12;
  sConfig.IC1Polarity = TIM_ICPOLARITY_RISING;
  sConfig.IC1Selection = TIM_ICSELECTION_DIRECTTI;
  sConfig.IC1Prescaler = TIM_ICPSC_DIV1;
  sConfig.IC1Filter = 0;
  sConfig.IC2Polarity = TIM_ICPOLARITY_RISING;
  sConfig.IC2Selection = TIM_ICSELECTION_DIRECTTI;
  sConfig.IC2Prescaler = TIM_ICPSC_DIV1;
  sConfig.IC2Filter = 0;
  if (HAL_TIM_Encoder_Init(&htim4, &sConfig) != HAL_OK)
  {
    Error_Handler();
  }
  sMasterConfig.MasterOutputTrigger = TIM_TRGO_ENABLE;
  sMasterConfig.MasterSlaveMode = TIM_MASTERSLAVEMODE_DISABLE;
  if (HAL_TIMEx_MasterConfigSynchronization(&htim4, &sMasterConfig) != HAL_OK)
  {
    Error_Handler();
  }

}

static void MX_USART2_UART_Init(void)
{

  huart2.Instance = USART2;
  huart2.Init.BaudRate = 921600;
  huart2.Init.WordLength = UART_WORDLENGTH_9B;
  huart2.Init.StopBits = UART_STOPBITS_1;
  huart2.Init.Parity = UART_PARITY_EVEN;
  huart2.Init.Mode = UART_MODE_TX_RX;
  huart2.Init.HwFlowCtl = UART_HWCONTROL_NONE;
  huart2.Init.OverSampling = UART_OVERSAMPLING_16;
  huart2.Init.OneBitSampling = UART_ONE_BIT_SAMPLE_DISABLE;
  huart2.Init.ClockPrescaler = UART_PRESCALER_DIV1;
  huart2.AdvancedInit.AdvFeatureInit = UART_ADVFEATURE_NO_INIT;
  if (HAL_UART_Init(&huart2) != HAL_OK)
  {
    Error_Handler();
  }
  if (HAL_UARTEx_SetTxFifoThreshold(&huart2, UART_TXFIFO_THRESHOLD_1_8) != HAL_OK)
  {
    Error_Handler();
  }
  if (HAL_UARTEx_SetRxFifoThreshold(&huart2, UART_RXFIFO_THRESHOLD_1_8) != HAL_OK)
  {
    Error_Handler();
  }
  if (HAL_UARTEx_DisableFifoMode(&huart2) != HAL_OK)
  {
    Error_Handler();
  }

}

static void MX_DMA_Init(void)
{

  /* DMA controller clock enable */
  __HAL_RCC_DMAMUX1_CLK_ENABLE();
  __HAL_RCC_DMA1_CLK_ENABLE();
  __HAL_RCC_DMA2_CLK_ENABLE();

  /* DMA interrupt init */
  /* DMA1_Channel1_IRQn interrupt configuration */
  HAL_NVIC_SetPriority(DMA1_Channel1_IRQn, 0, 0);
  HAL_NVIC_EnableIRQ(DMA1_Channel1_IRQn);
  /* DMA1_Channel2_IRQn interrupt configuration */
  HAL_NVIC_SetPriority(DMA1_Channel2_IRQn, 0, 0);
  HAL_NVIC_EnableIRQ(DMA1_Channel2_IRQn);
  /* DMA1_Channel3_IRQn interrupt configuration */
  HAL_NVIC_SetPriority(DMA1_Channel3_IRQn, 0, 0);
  HAL_NVIC_EnableIRQ(DMA1_Channel3_IRQn);
  /* DMA2_Channel1_IRQn interrupt configuration */
  HAL_NVIC_SetPriority(DMA2_Channel1_IRQn, 0, 0);
  HAL_NVIC_EnableIRQ(DMA2_Channel1_IRQn);

}

static void MX_GPIO_Init(void)
{
  GPIO_InitTypeDef GPIO_InitStruct = {0};

  /* GPIO Ports Clock Enable */
  __HAL_RCC_GPIOC_CLK_ENABLE();
  __HAL_RCC_GPIOF_CLK_ENABLE();
  __HAL_RCC_GPIOA_CLK_ENABLE();
  __HAL_RCC_GPIOB_CLK_ENABLE();

  /*Configure GPIO pin Output Level */
  HAL_GPIO_WritePin(PWM_GPIO_Port, PWM_Pin, GPIO_PIN_RESET);

  /*Configure GPIO pin : PWM_Pin */
  GPIO_InitStruct.Pin = PWM_Pin;
  GPIO_InitStruct.Mode = GPIO_MODE_OUTPUT_PP;
  GPIO_InitStruct.Pull = GPIO_NOPULL;
  GPIO_InitStruct.Speed = GPIO_SPEED_FREQ_LOW;
  HAL_GPIO_Init(PWM_GPIO_Port, &GPIO_InitStruct);

  /*Configure GPIO pin : Input_Encoder_Z_Pin */
  GPIO_InitStruct.Pin = Input_Encoder_Z_Pin;
  GPIO_InitStruct.Mode = GPIO_MODE_IT_RISING;
  GPIO_InitStruct.Pull = GPIO_NOPULL;
  HAL_GPIO_Init(Input_Encoder_Z_GPIO_Port, &GPIO_InitStruct);

  /* EXTI interrupt init*/
  HAL_NVIC_SetPriority(EXTI9_5_IRQn, 0, 0);
  HAL_NVIC_EnableIRQ(EXTI9_5_IRQn);

}

void Error_Handler(void)
{
  __disable_irq();
  while (1)
  {
  }
}
